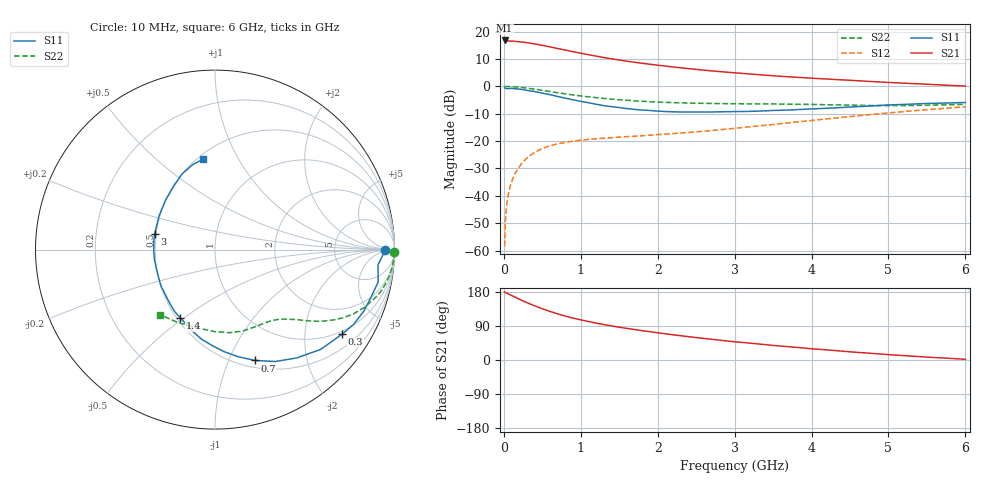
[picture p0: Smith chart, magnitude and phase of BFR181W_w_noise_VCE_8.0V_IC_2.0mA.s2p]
! Infineon Technologies  Discrete & RF Semiconductors
! BFR181W
! VCE =  8.0 V,  IC =  2.0 mA
! Common Emitter S-Parameters:  Jan 2017
# GHz  S  MA  R  50
!  f  S11  S21  S12  S22
! GHz  MAG  ANG  MAG  ANG  MAG  ANG  MAG  ANG
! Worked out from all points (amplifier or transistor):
!   77 points, 10 MHz to 6 GHz, reference 50 ohm
!   highest |S21| = 16.8 dB at 10 MHz (marker M1)
!   |S21| within 3 dB of that: start of sweep to 707.9 MHz
!   unconditionally stable (mu >= 1): 1.941 GHz to 3.905 GHz
!   at 130 MHz: K = 0.08, MSG = 24.6 dB, |S12| = -32.8 dB
!   at 2.2 GHz: K = 1.06, MAG = 10.7 dB, |S12| = -17.2 dB
!   at 6 GHz: K = 0.82, MSG = 3.8 dB, |S12| = -7.4 dB
!   lowest NFmin = 0.84 dB at 450 MHz
!   S11 on the Smith chart (normalised r, x): 10 MHz: 38, -2; 300 MHz: 0.90, -3.07; 700 MHz: 0.58, -1.26; 1.4 GHz: 0.52, -0.49; 3 GHz: 0.49, +0.10; 6 GHz: 0.53, +0.73
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0.01  0.9485 -0.2  6.948 179.9  0.0012 100.6  1 -0.7
0.02  0.9243 -3.5  6.847 177.9  0.0034 82.5  1 -1.1
0.03  0.9202 -4.1  6.839 177.0  0.0053 85.0  1 -1.7
0.05  0.9122 -5.3  6.829 175.2  0.0092 86.8  0.9969 -2.9
0.08  0.9198 -8.9  6.775 172.3  0.0145 85.2  0.993 -4.7
0.15  0.9078 -17.5  6.692 165.6  0.0263 79.4  0.9812 -8.7
0.25  0.8778 -28.3  6.488 155.8  0.0422 73.5  0.9532 -14.1
0.3  0.8506 -33.6  6.321 151.3  0.0492 70.4  0.9332 -16.6
0.4  0.8098 -43.4  6.018 142.9  0.0623 65.6  0.8939 -21.0
0.5  0.7569 -52.8  5.646 135.3  0.0734 60.6  0.8508 -24.9
0.6  0.7088 -61.6  5.299 128.2  0.0825 56.3  0.8086 -28.0
0.7  0.6569 -70.1  4.944 121.7  0.0892 53.6  0.769 -30.6
0.9  0.5703 -85.0  4.328 110.6  0.0999 48.9  0.6998 -34.8
1.1  0.5042 -98.7  3.814 101.6  0.1076 46.3  0.6466 -37.8
1.4  0.4277 -116.8  3.209 90.0  0.1156 44.7  0.5864 -41.6
1.7  0.3807 -134.4  2.768 80.4  0.123 45.2  0.546 -45.2
2.1  0.3479 -155.9  2.36 69.2  0.1345 47.4  0.5126 -50.1
3  0.3477 165.2  1.782 48.0  0.1715 53.4  0.4835 -63.4
3.1  0.3486 161.8  1.736 46.3  0.1775 53.8  0.482 -64.9
4.1  0.394 132.7  1.393 28.2  0.247 55.1  0.4664 -81.8
5.1  0.4645 111.8  1.167 12.9  0.3374 50.1  0.4469 -106.2
6  0.5096 97.3  1.016 1.9  0.4254 42.0  0.4737 -129.9
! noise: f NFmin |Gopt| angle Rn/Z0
0.45  0.84  0.56  18  0.32
0.9  0.9  0.51  33  0.3
1.9  1.35  0.31  81  0.23
2.4  1.58  0.27  95  0.25
